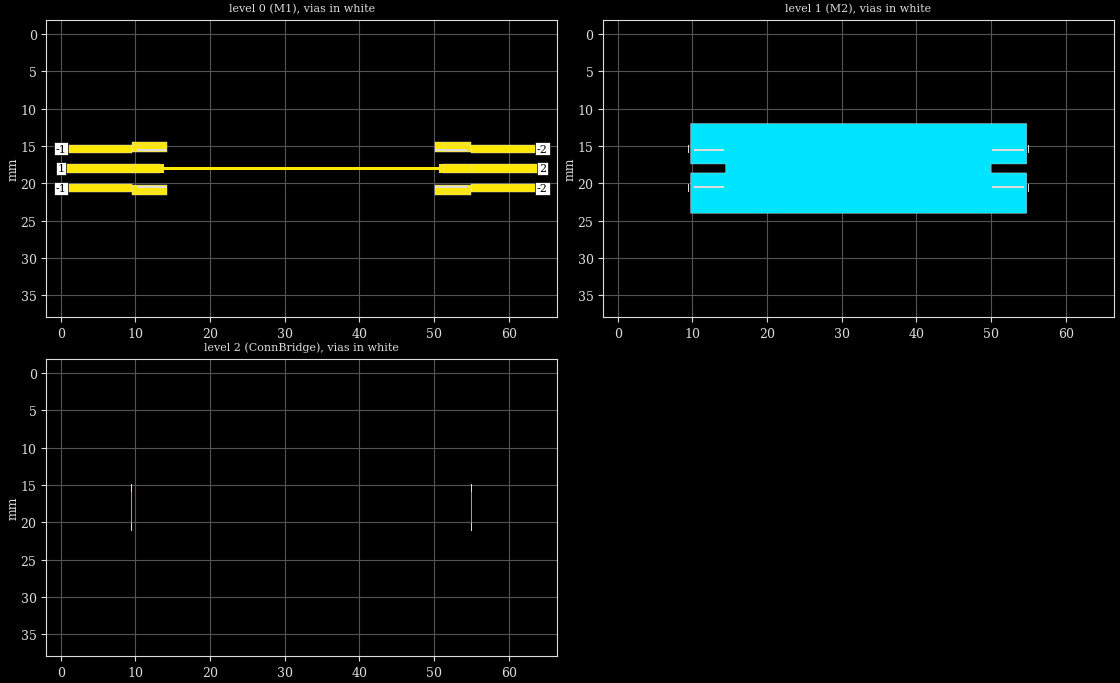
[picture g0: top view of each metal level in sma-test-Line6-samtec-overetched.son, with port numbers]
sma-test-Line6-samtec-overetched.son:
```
FTYP SONPROJ 18 ! Sonnet Project File
VER 17.56
HEADER
LIC antikernel2.1.50170 3cfdfeabd718 havequick azonenberg Level3Gold
DAT 06/20/2021 02:05:37
BUILT_BY_CREATED sonntgbr 17.56.081 06/14/2021 17:50:55
BUILT_BY_SAVED sonnet 17.56
MDATE 06/20/2021 02:05:37
HDATE 06/20/2021 02:05:37
ANN sma-test-whole-gk:
ANN 
ANN as imported by Gerber
ANN 
ANN _gka:
ANN 
ANN moved M5,  Edge Cuts to Gnd level
ANN removed D4 dielectric layer
ANN set D1 to 0.166 Isola FR408HR
ANN There are D2 and D3 FR408HR layers that have a total thickness of 1.4 mm
ANN set each one to 0.7 mm
ANN changed Air_added to Air and set each to 10 mm
ANN 
ANN _gkb:
ANN 
ANN edge cuts opening is 45.5 x 120.95 mm
ANN changed box size to this
ANN moved whole layout to align edge cuts inside dimension with the new box
ANN deleted M5, edge cuts tech layer
ANN 
ANN _gkc:
ANN 
ANN divided out Line 6 and Line 7
ANN 
ANN sma-test-Line6-gk:
ANN 
ANN removed all polygons except those related to Line 6
ANN reduced box Y to 36 mm and nearly centered layout
ANN 
ANN sma-test-Line6-samtec-gk:
ANN 
ANN used stackup and materials from samtec-test-cutout_gk3 as a guide to add connector geometry
ANN first modified dielectric layers
ANN then added tech layers
ANN then metal types
ANN copied and pasted each set of polygons by tech layer from gk3 model to this model
ANN when I did the ConnPins polygons, I noticed the outer ground pins were much further apart than the mount pads
ANN moved the ground pins inward to align with the pads with a 6.35 mm, overall Y dimension
ANN increased cell size from 0.01 x 0.01 to 0.025 x 0.025 mm
ANN copied and pasted remaining tech layer polygons
ANN reduce the feedlines and ConnPanel vias to 9.5 mm which matches the connector length
ANN reference planes set to 9.45 mm to end and reduced width (0.05mm) panel
ANN Added Freq Sweep Combination
ANN 0.1
ANN 1, 10, 1
ANN ABS 0.1 to 10
ANN Note that model is not symmetrical left to right. There is 0.125mm space between the circuit and the right edge of substrate. On the left side this is 0.075 mm. Both due to Edge Cuts Gerber that set the PCB substrate size
ANN 
ANN Estimated memory: 16,953 MB
ANN Subsection total: 46,666
ANN 
ANN sma-test-Line6-samtec-gk2:
ANN 
ANN removed M3 tech layer and polygons as these were circular ground via pads
ANN changed circular ground vias to square
ANN noticed that the rectangular connector pin mounting pads and the ground vias were not symmetrical. 
ANN mirrored the upper pad and vias to the lower position
ANN corrected both regions on each end of the PCB
ANN added some M4 metal polygons to connect the M4 groundpads to the ConnPanel8 vias. Due to asymmetry noted above, the widths of these added polygons are different
ANN changed box top and bottom covers to Freespace
ANN 
ANN sma-test-Line6-samtec-gk2a:
ANN 
ANN decreased the gap between the feedline signal to return traces from 1.525 to 1.5 mm
ANN increased the return traces from 0.8 to 1.075 mm
ANN increased the center trace width from 1.2 to 1.25 mm
ANN 
ANN -gk2b:
ANN 
ANN converted the 1 x 5 ground via arrays to a single via polygon
ANN removed cround bulge in the ground pads
ANN 
ANN -gk2c:
ANN 
ANN ABS interpolation error in gk2b at low frequency
ANN deleted data
ANN added single frequency points at 0.2 and 0.5 GHz
ANN 
ANN -gk2d:
ANN 
ANN changed the Vias tech layer to stop at Level 5, which is M2
ANN removed M4 tech layer and polygons
ANN 
ANN -gk2e:
ANN 
ANN trying to simplify model and possibly squeeze it into Level3 Gold
ANN changed the ConnPanel1 and ConnPanel8 vias to ConnBridge1 and ConnBridge7 planar metal
ANN Combined the two lower Isola FR408HR layers into 1
ANN Removed the ConnPanel7 tech layer and polygons
ANN combined upper two and lower two air layers
ANN 
ANN -gk2f:
ANN 
ANN Moved ConnPins tech layer to level 3. allowing it to ram through M1 thick metal
ANN changed number of sheets in Gold metal type for ConnPins to 3, since an extra sheet is added due to the M1, Copper_1oz metal type
ANN deleted ConnPanel4 tech layer and vias
ANN shifted ConnPins down to Level3
ANN SHifted ConnBridge down to level1
ANN shifted ConnPanel2 to levels 1 to 2
ANN adjusted air layer thicknesses accordingly
ANN removed top air layer
ANN 
ANN -gk2g:
ANN 
ANN removed ConnBridge1 and ConnPanel2
ANN combined uppar air layers
ANN now at 4 dielectric layers which meets Level3 Gold limit
ANN memory requirement is still to high at 3300 MB
ANN renamed ConnPanel5 to ConnPanel 1
ANN renamed ConnPanel6 to ConnPanel 2
ANN renamed ConnBridge7 to ConnBridge
ANN 
ANN -gk2h:
ANN 
ANN changed speed/memory from fine to mid
ANN 
ANN 
ANN 
ANN 
ANN 
ANN 
ANN 
ANN 
ANN 
ANN 
ANN 
ANN 
ANN 
ANN 
ANN 
ANN 
ANN 
ANN 
ANN 
ANN 
ANN 
ANN 
ANN 
ANN 
ANN 
ANN 
ANN 
ANN 
ANN 
END HEADER
DIM
ANG DEG
CAP PF
CON /OH
FREQ GHZ
IND NH
LNG MM
RES OH
END DIM
CONTROL
VARSWP
OPTIONS  -dj
SPEED 1
CACHE_ABS 0
Q_ACC N
END CONTROL
GEO
SYM
DRP1 LEFT FIX 9.45
DRP1 RIGHT FIX 9.45
TMET "Free Space" 0 FREESPACE 376.7303136 0 0 0
BMET "Free Space" 0 FREESPACE 376.7303136 0 0 0
MET "Copper_1oz" 2 TMM 58000000 0.5 0.035 2
MET "Copper_0.5oz" 1 NOR 58000000 0.5 0.0175 
MET "Gold_Conn" 4 TMM 40900000 0.5 1.27 3
BOX 3 64.5 36 5160 2880 20 0
      10 1 1 0 0 0 0 "Air"
      0.166 3.6 1 0.0092 0 0 0 "Isola FR408HR"
      1.4 3.6 1 0.0092 0 0 0 "Isola FR408HR"
      10 1 1 0 0 0 0 "Air"
TECHLAY VIA Vias <UNSPECIFIED> -6 -65534 GBR Lossless 
VIA POLYGON
0 0 -1 N 1831 1 1 100 100 0 0 0 Y
TOLEVEL 1 RING NOCOVERS
END
END
TECHLAY METAL M1 <UNSPECIFIED> -1 -65534 GBR M1 
0 0 0 N 1833 1 1 100 100 0 0 0 Y
END
END
TECHLAY VIA ConnPanel1 <UNSPECIFIED> -10 -65534 
VIA POLYGON
0 0 -1 N 1835 1 1 100 100 0 0 0 Y
TOLEVEL 1 RING NOCOVERS
END
END
TECHLAY METAL ConnPins <UNSPECIFIED> -8 -65534 
0 0 2 N 1837 1 1 100 100 0 0 0 Y
END
END
TECHLAY METAL M2 <UNSPECIFIED> -3 -65534 GBR M2 
1 0 1 N 1846 1 1 100 100 0 0 0 Y
END
END
TECHLAY VIA ConnPanel2 <UNSPECIFIED> -11 -65534 
VIA POLYGON
1 0 -1 N 1848 1 1 100 100 0 0 0 Y
TOLEVEL 2 RING NOCOVERS
END
END
TECHLAY METAL ConnBridge <UNSPECIFIED> -5 -65534 
2 0 -1 N 1851 1 1 100 100 0 0 0 Y
END
END
VALVAR TRACE LNG 0.31 "Dim. Param."
LORGN 32.25 18 U 
POR1 BOX
POLY 1316 1
3
-1 50 0 0 0 0 15.3625 
POR1 BOX
POLY 1317 1
3
-1 50 0 0 0 0 20.6375 
POR1 BOX
POLY 1318 1
1
1 50 0 0 0 0 18 
POR1 BOX
POLY 1387 1
3
-2 50 0 0 0 64.5 20.6375 
POR1 BOX
POLY 1388 1
3
-2 50 0 0 0 64.5 15.3625 
POR1 BOX
POLY 1389 1
1
2 50 0 0 0 64.5 18 
NUM 32
VIA POLYGON
0 5 -1 N 1610 1 1 100 100 0 0 0 Y
TOLEVEL 1 RING NOCOVERS
TLAYNAM Vias INH
10.2 15.4
14.275 15.4
14.275 15.6
10.2 15.6
10.2 15.4
END
VIA POLYGON
0 5 -1 N 1623 1 1 100 100 0 0 0 Y
TOLEVEL 1 RING NOCOVERS
TLAYNAM Vias INH
54.35 15.4
50.175 15.4
50.175 15.6
54.35 15.6
54.35 15.4
END
VIA POLYGON
0 5 -1 N 1753 1 1 100 100 0 0 0 Y
TOLEVEL 1 RING NOCOVERS
TLAYNAM Vias INH
10.2 20.6
14.275 20.6
14.275 20.4
10.2 20.4
10.2 20.6
END
VIA POLYGON
0 5 -1 N 1754 1 1 100 100 0 0 0 Y
TOLEVEL 1 RING NOCOVERS
TLAYNAM Vias INH
54.35 20.6
50.175 20.6
50.175 20.4
54.35 20.4
54.35 20.6
END
0 5 0 N 15 1 1 100 100 0 0 0 Y
TLAYNAM M1 INH
9.575 15.845
14.275 15.845
14.275 14.495
9.575 14.495
9.575 15.845
END
0 5 0 N 25 1 1 100 100 0 0 0 Y
TLAYNAM M1 INH
50.175 15.845
54.875 15.845
54.875 14.495
50.175 14.495
50.175 15.845
END
0 13 0 N 727 1 1 100 100 0 0 0 Y
TLAYNAM M1 INH
9.575 18.63
13.775 18.63
13.775 18.15
50.675 18.15
50.675 18.63
54.875 18.63
54.875 17.36
50.675 17.36
50.675 17.84
13.775 17.84
13.775 17.36
9.575 17.36
9.575 18.63
END
0 5 0 N 1620 1 1 100 100 0 0 0 Y
TLAYNAM M1 INH
9.575 20.155
14.275 20.155
14.275 21.505
9.575 21.505
9.575 20.155
END
0 5 0 N 1632 1 1 100 100 0 0 0 Y
TLAYNAM M1 INH
50.175 20.155
54.875 20.155
54.875 21.505
50.175 21.505
50.175 20.155
END
VIA POLYGON
0 5 -1 N 1447 1 1 100 100 0 0 0 Y
TOLEVEL 1 RING NOCOVERS
TLAYNAM ConnPanel1 INH
9.45 15.9
9.5 15.9
9.5 14.825
9.45 14.825
9.45 15.9
END
VIA POLYGON
0 5 -1 N 1448 1 1 100 100 0 0 0 Y
TOLEVEL 1 RING NOCOVERS
TLAYNAM ConnPanel1 INH
9.45 20.1
9.5 20.1
9.5 21.175
9.45 21.175
9.45 20.1
END
VIA POLYGON
0 5 -1 N 1460 1 1 100 100 0 0 0 Y
TOLEVEL 1 RING NOCOVERS
TLAYNAM ConnPanel1 INH
55.05 15.9
55 15.9
55 14.825
55.05 14.825
55.05 15.9
END
VIA POLYGON
0 5 -1 N 1461 1 1 100 100 0 0 0 Y
TOLEVEL 1 RING NOCOVERS
TLAYNAM ConnPanel1 INH
55.05 20.1
55 20.1
55 21.175
55.05 21.175
55.05 20.1
END
0 5 2 N 1316 1 1 100 100 0 0 0 Y
TLAYNAM ConnPins INH
0 14.825
9.5 14.825
9.5 15.9
0 15.9
0 14.825
END
0 5 2 N 1317 1 1 100 100 0 0 0 Y
TLAYNAM ConnPins INH
0 21.175
9.5 21.175
9.5 20.1
0 20.1
0 21.175
END
0 5 2 N 1318 1 1 100 100 0 0 0 Y
TLAYNAM ConnPins INH
9.5 17.375
0 17.375
0 18.625
9.5 18.625
9.5 17.375
END
0 5 2 N 1320 1 1 100 100 0 0 0 Y
TLAYNAM ConnPins INH
9.5 21.175
13.3 21.175
13.3 20.375
9.5 20.375
9.5 21.175
END
0 5 2 N 1321 1 1 100 100 0 0 0 Y
TLAYNAM ConnPins INH
9.5 17.375
13.3 17.375
13.3 18.625
9.5 18.625
9.5 17.375
END
0 5 2 N 1322 1 1 100 100 0 0 0 Y
TLAYNAM ConnPins INH
9.5 14.825
13.3 14.825
13.3 15.625
9.5 15.625
9.5 14.825
END
0 5 2 N 1386 1 1 100 100 0 0 0 Y
TLAYNAM ConnPins INH
55 21.175
51.2 21.175
51.2 20.375
55 20.375
55 21.175
END
0 5 2 N 1387 1 1 100 100 0 0 0 Y
TLAYNAM ConnPins INH
64.5 21.175
55 21.175
55 20.1
64.5 20.1
64.5 21.175
END
0 5 2 N 1388 1 1 100 100 0 0 0 Y
TLAYNAM ConnPins INH
64.5 14.825
55 14.825
55 15.9
64.5 15.9
64.5 14.825
END
0 5 2 N 1389 1 1 100 100 0 0 0 Y
TLAYNAM ConnPins INH
55 17.375
64.5 17.375
64.5 18.625
55 18.625
55 17.375
END
0 5 2 N 1390 1 1 100 100 0 0 0 Y
TLAYNAM ConnPins INH
55 17.375
51.2 17.375
51.2 18.625
55 18.625
55 17.375
END
0 5 2 N 1391 1 1 100 100 0 0 0 Y
TLAYNAM ConnPins INH
55 14.825
51.2 14.825
51.2 15.625
55 15.625
55 14.825
END
1 50 1 N 1817 1 1 100 100 0 0 0 Y
TLAYNAM M2 INH
54.775 18.67
54.77133 18.64682
54.76068 18.62592
54.74408 18.60932
54.72318 18.59867
54.7 18.595
50.35 18.595
50.35 18.59131
50.2 18.59131
50.2 18.595
49.97869 18.595
49.97533 18.59467
49.975 18.59131
49.975 17.575
49.975 17.39869
49.97533 17.39533
49.97869 17.395
50.2 17.395
50.2 17.39869
50.35 17.39869
50.35 17.395
54.7 17.395
54.72318 17.39133
54.74408 17.38068
54.76068 17.36408
54.77133 17.34318
54.775 17.32
54.775 11.99
9.775 11.99
9.775 17.32
9.77867 17.34318
9.78932 17.36408
9.80592 17.38068
9.82682 17.39133
9.85 17.395
14.47131 17.395
14.47467 17.39533
14.475 17.39869
14.475 18.59131
14.47467 18.59467
14.47131 18.595
9.85 18.595
9.82682 18.59867
9.80592 18.60932
9.78932 18.62592
9.77867 18.64682
9.775 18.67
9.775 23.99
54.775 23.99
54.775 18.67
END
VIA POLYGON
1 5 -1 N 1449 1 1 100 100 0 0 0 Y
TOLEVEL 2 RING NOCOVERS
TLAYNAM ConnPanel2 INH
9.45 15.9
9.5 15.9
9.5 14.825
9.45 14.825
9.45 15.9
END
VIA POLYGON
1 5 -1 N 1450 1 1 100 100 0 0 0 Y
TOLEVEL 2 RING NOCOVERS
TLAYNAM ConnPanel2 INH
9.45 20.1
9.5 20.1
9.5 21.175
9.45 21.175
9.45 20.1
END
VIA POLYGON
1 5 -1 N 1462 1 1 100 100 0 0 0 Y
TOLEVEL 2 RING NOCOVERS
TLAYNAM ConnPanel2 INH
55.05 15.9
55 15.9
55 14.825
55.05 14.825
55.05 15.9
END
VIA POLYGON
1 5 -1 N 1463 1 1 100 100 0 0 0 Y
TOLEVEL 2 RING NOCOVERS
TLAYNAM ConnPanel2 INH
55.05 20.1
55 20.1
55 21.175
55.05 21.175
55.05 20.1
END
2 5 -1 N 1452 1 1 100 100 0 0 0 Y
TLAYNAM ConnBridge INH
9.45 14.825
9.5 14.825
9.5 21.175
9.45 21.175
9.45 14.825
END
2 5 -1 N 1465 1 1 100 100 0 0 0 Y
TLAYNAM ConnBridge INH
55.05 14.825
55 14.825
55 21.175
55.05 21.175
55.05 14.825
END
END GEO
OPT
MAX 0
END OPT
VARSWP
ENABLED Y
FREQ Y AN STEP 0.1
FREQ Y AN STEP 0.2
FREQ Y AN STEP 0.5
FREQ Y AN SWEEP 1.0 16.0 1.0
FREQ Y AY ABS_ENTRY 0.1 16.0 -1 300 
VAR TRACE N 0.35 0.35 UNDEF
END
END VARSWP
3DOPTIONS
GLOBAL 1
ALL 5 1
END 3DOPTIONS
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```
